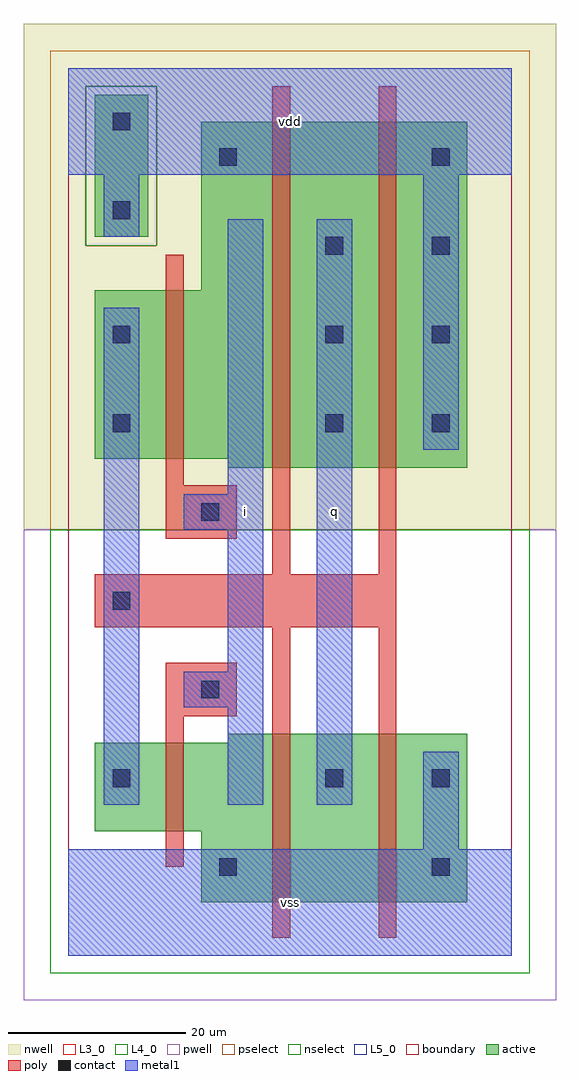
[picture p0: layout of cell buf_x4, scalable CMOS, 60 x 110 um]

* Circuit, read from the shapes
.subckt buf_x4 i q vdd vss
M1 vss i n1 VSUBS nfet w=10u l=2u
M2 q n1 vss VSUBS nfet w=19u l=2u m=2
M3 vdd i n1 vdd pfet w=19u l=2u
M4 q n1 vdd vdd pfet w=39u l=2u m=2
.ends

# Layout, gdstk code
import gdstk
lib = gdstk.Library(unit=1e-6, precision=1e-09)
def R(c, l, rs):  # rectangles x0, y0, x1, y1
    for r in rs: c.add(gdstk.rectangle(r[:2], r[2:], *l))
def A(c, l, x, y, w, h, nx, ny, dx, dy):  # array of equal rectangles
    R(c, l, [(x+i*dx, y+j*dy, x+i*dx+w, y+j*dy+h) for i in range(nx) for j in range(ny)])
L3_0 = (3, 0)
L4_0 = (4, 0)
L5_0 = (5, 0)
contact = (25, 0)
pwell = (41, 0)
nwell = (42, 0)
active = (43, 0)
pselect = (44, 0)
nselect = (45, 0)
poly = (46, 0)
metal1 = (49, 0)
boundary = (63, 0)

buf_x4 = lib.new_cell('buf_x4')
R(buf_x4, L3_0, [(15,6,45,14), (3,14,45,24), (18,24,45,25)])
R(buf_x4, L4_0, [(18,55,45,56), (3,56,45,75), (15,75,45,94)])
R(buf_x4, L5_0, [(3,81,9,97)])
A(buf_x4, contact, 5, 19, 2, 2, 1, 3, 0, 20)
A(buf_x4, contact, 29, 59, 2, 2, 1, 3, 0, 10)
A(buf_x4, contact, 41, 59, 2, 2, 1, 4, 0, 10)
R(buf_x4, contact, [(17,9,19,11), (41,9,43,11), (29,19,31,21), (41,19,43,21), (15,29,17,31), (15,49,17,51), (5,69,7,71), (5,83,7,85), (17,89,19,91), (5,93,7,95)])
R(buf_x4, pwell, [(-5,-5,55,48)])
R(buf_x4, nwell, [(-5,48,55,105)])
R(buf_x4, active, [(15,6,45,14), (3,14,45,24), (18,24,45,25), (18,55,45,56), (3,56,45,75), (15,75,45,94), (3,81,9,97)])
R(buf_x4, pselect, [(-2,48,52,80), (-2,80,2,98), (10,80,52,98), (-2,98,52,102)])
R(buf_x4, nselect, [(-2,-2,52,48), (2,80,10,98)])
R(buf_x4, poly, [(23,2,25,37), (35,2,37,37), (11,10,13,27), (11,27,19,33), (3,37,37,43), (23,43,25,98), (35,43,37,98), (11,47,19,53), (11,53,13,79)])
R(buf_x4, metal1, [(0,0,50,12), (40,12,44,23), (4,17,8,73), (18,17,22,28), (28,17,32,83), (13,28,22,32), (18,32,22,48), (13,48,22,52), (18,52,22,83), (40,57,44,88), (4,81,8,88), (0,88,50,100)])
R(buf_x4, boundary, [(0,0,50,100)])
buf_x4.add(gdstk.Label('vss', (25,6), layer=49, texttype=0))
buf_x4.add(gdstk.Label('q', (30,50), layer=49, texttype=0))
buf_x4.add(gdstk.Label('i', (20,50), layer=49, texttype=0))
buf_x4.add(gdstk.Label('vdd', (25,94), layer=49, texttype=0))

lib.write_gds('buf_x4.gds')
